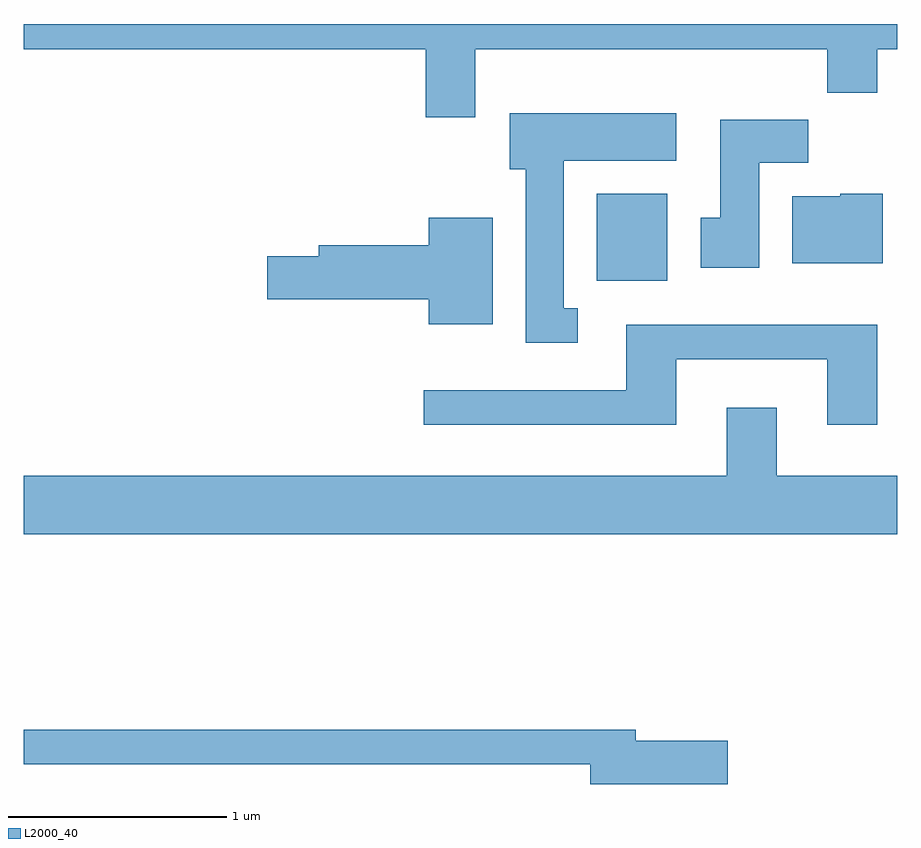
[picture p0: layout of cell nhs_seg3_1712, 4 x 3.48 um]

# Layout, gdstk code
import gdstk
lib = gdstk.Library(unit=1e-6, precision=1e-09)
def R(c, l, rs):  # rectangles x0, y0, x1, y1
    for r in rs: c.add(gdstk.rectangle(r[:2], r[2:], *l))
def P(c, l, *ps):  # polygons
    for p in ps: c.add(gdstk.Polygon(p, *l))
L2000_40 = (2000, 40)

nhs_seg3_1712 = lib.new_cell('nhs_seg3_1712')
R(nhs_seg3_1712, L2000_40, [(238.236,1142.716,238.559,1143.114)])
P(nhs_seg3_1712, L2000_40, [(237.679,1143.776),(239.291,1143.776),(239.291,1143.576),(239.519,1143.576),(239.519,1143.776),(239.611,1143.776),(239.611,1143.892),(235.611,1143.892),(235.611,1143.776),(237.451,1143.776),(237.451,1143.466),(237.679,1143.466)],
  [(238.148,1142.589),(238.084,1142.589),(238.084,1143.266),(238.599,1143.266),(238.599,1143.484),(237.836,1143.484),(237.836,1143.226),(237.911,1143.226),(237.911,1142.431),(238.148,1142.431)],
  [(238.979,1143.256),(239.204,1143.256),(239.204,1143.454),(238.801,1143.454),(238.801,1143.004),(238.711,1143.004),(238.711,1142.776),(238.979,1142.776)],
  [(239.544,1143.114),(239.35,1143.114),(239.35,1143.104),(239.131,1143.104),(239.131,1142.796),(239.544,1142.796)],
  [(237.759,1143.004),(237.466,1143.004),(237.466,1142.879),(236.961,1142.879),(236.961,1142.829),(236.726,1142.829),(236.726,1142.631),(237.466,1142.631),(237.466,1142.516),(237.759,1142.516)],
  [(238.599,1142.356),(239.291,1142.356),(239.291,1142.056),(239.519,1142.056),(239.519,1142.514),(238.371,1142.514),(238.371,1142.214),(237.443,1142.214),(237.443,1142.056),(238.599,1142.056)],
  [(239.611,1141.824),(239.059,1141.824),(239.059,1142.134),(238.831,1142.134),(238.831,1141.824),(235.611,1141.824),(235.611,1141.556),(239.611,1141.556)],
  [(238.834,1140.609),(238.414,1140.609),(238.414,1140.659),(235.611,1140.659),(235.611,1140.501),(238.206,1140.501),(238.206,1140.411),(238.834,1140.411)])

lib.write_gds('nhs_seg3_1712.gds')
